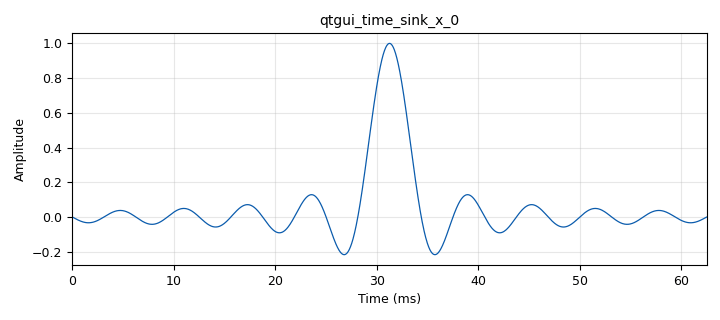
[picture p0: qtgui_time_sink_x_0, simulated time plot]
options:
  parameters:
    author: p
    generate_options: qt_gui
    id: week5_lecture22
    output_language: python
    title: Not titled yet
  states: {}

blocks:
- name: samp_rate
  id: variable
  parameters:
    value: '32000'
  states: {}
- name: blocks_throttle2_0
  id: blocks_throttle2
  parameters:
    samples_per_second: samp_rate
    type: float
  states: {}
- name: blocks_vector_source_x_0
  id: blocks_vector_source_x
  parameters:
    repeat: 'True'
    type: float
    vector: np.sinc(my_module.t)
  states: {}
- name: import_0
  id: import
  parameters:
    imports: import numpy as np
  states: {}
- name: my_module
  id: epy_module
  parameters:
    source_code: |
      # this module will be imported in the into your flowgraph
      import numpy as np
      t = np.arange(-10, 10, 0.01)
      tlen = len(t)
  states: {}
- name: qtgui_time_sink_x_0
  id: qtgui_time_sink_x
  parameters:
    autoscale: 'True'
    grid: 'True'
    size: my_module.tlen
    srate: samp_rate
    type: float
  states: {}

connections:
- [blocks_throttle2_0, '0', qtgui_time_sink_x_0, '0']
- [blocks_vector_source_x_0, '0', blocks_throttle2_0, '0']

metadata:
  file_format: 1
  grc_version: 3.10.7.0
